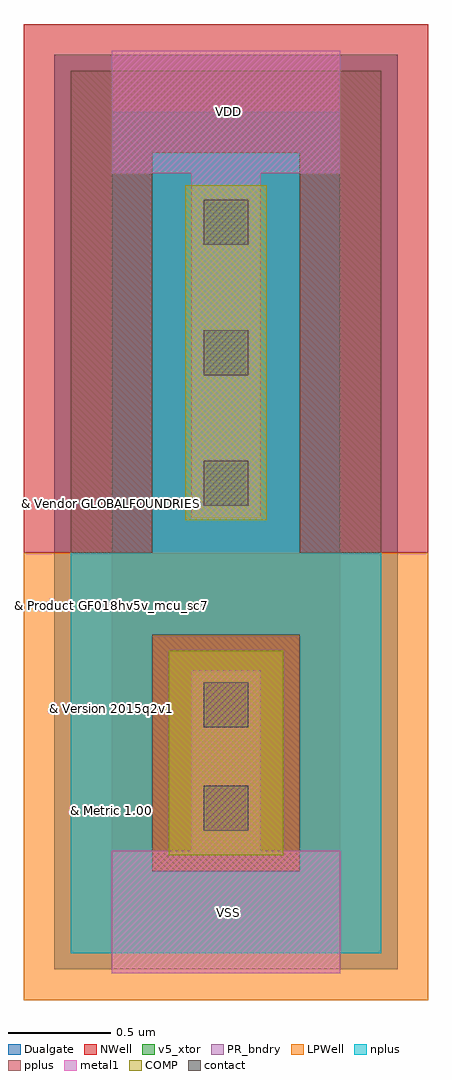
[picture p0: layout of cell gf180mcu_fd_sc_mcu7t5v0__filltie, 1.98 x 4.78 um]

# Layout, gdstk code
import gdstk
lib = gdstk.Library(unit=1e-6, precision=1e-09)
def R(c, l, rs):  # rectangles x0, y0, x1, y1
    for r in rs: c.add(gdstk.rectangle(r[:2], r[2:], *l))
def A(c, l, x, y, w, h, nx, ny, dx, dy):  # array of equal rectangles
    R(c, l, [(x+i*dx, y+j*dy, x+i*dx+w, y+j*dy+h) for i in range(nx) for j in range(ny)])
def P(c, l, *ps):  # polygons
    for p in ps: c.add(gdstk.Polygon(p, *l))
PR_bndry = (0, 0)
NWell = (21, 0)
COMP = (22, 0)
pplus = (31, 0)
nplus = (32, 0)
contact = (33, 0)
metal1 = (34, 0)
Dualgate = (55, 0)
v5_xtor = (112, 1)
LPWell = (204, 0)

gf180mcu_fd_sc_mcu7t5v0_ = lib.new_cell('gf180mcu_fd_sc_mcu7t5v0__filltie')
R(gf180mcu_fd_sc_mcu7t5v0_, PR_bndry, [(0,0,1.12,3.92)])
R(gf180mcu_fd_sc_mcu7t5v0_, NWell, [(-0.43,1.76,1.55,4.35)])
R(gf180mcu_fd_sc_mcu7t5v0_, COMP, [(0.28,0.28,0.84,1.28), (0.36,1.92,0.76,3.56)])
R(gf180mcu_fd_sc_mcu7t5v0_, pplus, [(0.2,0.2,0.92,1.36)])
P(gf180mcu_fd_sc_mcu7t5v0_, pplus, [(-0.2,1.76),(-0.2,4.12),(1.32,4.12),(1.32,1.76),(0.92,1.76),(0.92,3.72),(0.2,3.72),(0.2,1.76)])
P(gf180mcu_fd_sc_mcu7t5v0_, nplus, [(-0.2,-0.2),(-0.2,1.76),(0.2,1.76),(0.2,3.72),(0.92,3.72),(0.92,1.36),(0.2,1.36),(0.2,0.2),(0.92,0.2),(0.92,3.72),(0.92,1.76),(1.32,1.76),(1.32,-0.2)])
A(gf180mcu_fd_sc_mcu7t5v0_, contact, 0.45, 1.99, 0.22, 0.22, 1, 3, 0, 0.64)
R(gf180mcu_fd_sc_mcu7t5v0_, contact, [(0.45,0.4,0.67,0.62), (0.45,0.905,0.67,1.125)])
P(gf180mcu_fd_sc_mcu7t5v0_, metal1, [(0,-0.3),(0,0.3),(0.39,0.3),(0.39,1.185),(0.73,1.185),(0.73,0.3),(1.12,0.3),(1.12,-0.3)],
  [(0.39,1.93),(0.39,3.62),(0,3.62),(0,4.22),(1.12,4.22),(1.12,3.62),(0.73,3.62),(0.73,1.93)])
R(gf180mcu_fd_sc_mcu7t5v0_, Dualgate, [(-0.28,-0.28,1.4,4.2)])
R(gf180mcu_fd_sc_mcu7t5v0_, v5_xtor, [(0,0,1.12,3.92)])
R(gf180mcu_fd_sc_mcu7t5v0_, LPWell, [(-0.43,-0.43,1.55,1.76)])
gf180mcu_fd_sc_mcu7t5v0_.add(gdstk.Label('VDD', (0.57,3.92), layer=34, texttype=10))
gf180mcu_fd_sc_mcu7t5v0_.add(gdstk.Label('VSS', (0.57,0), layer=34, texttype=10))
gf180mcu_fd_sc_mcu7t5v0_.add(gdstk.Label('& Vendor GLOBALFOUNDRIES', (0,2), layer=63, texttype=63))
gf180mcu_fd_sc_mcu7t5v0_.add(gdstk.Label('& Product GF018hv5v_mcu_sc7', (0,1.5), layer=63, texttype=63))
gf180mcu_fd_sc_mcu7t5v0_.add(gdstk.Label('& Version 2015q2v1', (0,1), layer=63, texttype=63))
gf180mcu_fd_sc_mcu7t5v0_.add(gdstk.Label('& Metric 1.00', (0,0.5), layer=63, texttype=63))

lib.write_gds('gf180mcu_fd_sc_mcu7t5v0__filltie.gds')
